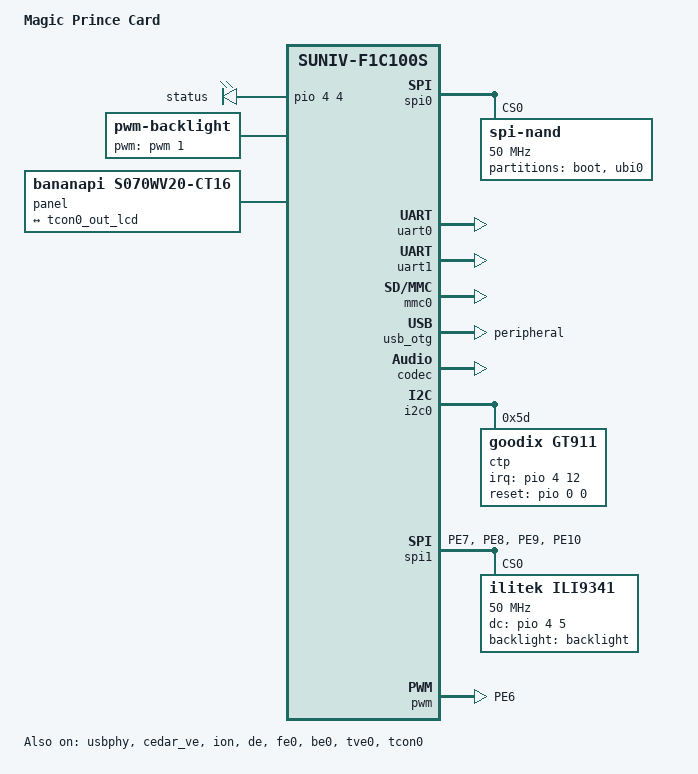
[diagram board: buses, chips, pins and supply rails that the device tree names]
// SPDX-License-Identifier: (GPL-2.0+ OR X11)

/dts-v1/;
#include "suniv-f1c100s.dtsi"
#include <dt-bindings/gpio/gpio.h>
#include <dt-bindings/input/input.h>
#include <dt-bindings/pwm/pwm.h>

/ {
	model = "Magic Prince Card";
	compatible = "allwinner,suniv-f1c200s",
			 "allwinner,suniv-f1c100s";

	aliases {
		serial0 = &uart0;
		serial1 = &uart1;
	};

	chosen {
		#address-cells = <1>;
		#size-cells = <1>;
		ranges;

		stdout-path = "serial1:115200n8";
	};

	leds {
		compatible = "gpio-leds";

		status {
			label = "status";
			gpios = <&pio 4 4 GPIO_ACTIVE_HIGH>; /* PE4 */
			linux,default-trigger = "heartbeat";
		};
	};

	backlight: backlight {
		compatible = "pwm-backlight";
		pwms = <&pwm 1 1000000 1>;
		brightness-levels = <0 30 40 50 60 70 100>;
		default-brightness-level = <3>;
		status = "okay";
	};

	panel: panel {
		compatible = "bananapi,s070wv20-ct16", "simple-panel";
		#address-cells = <1>;
		#size-cells = <0>;

		port@0 {
			reg = <0>;
			#address-cells = <1>;
			#size-cells = <0>;

			panel_input: endpoint@0 {
				reg = <0>;
				remote-endpoint = <&tcon0_out_lcd>;
			};
		};
	};
};

&spi0 {
	status = "okay";
	spi-nand@0 {
		#address-cells = <1>;
		#size-cells = <1>;
		compatible = "spi-nand";
		reg = <0>;
		spi-max-frequency = <50000000>;
		status = "okay";

		partitions {
			compatible = "fixed-partitions";
			#address-cells = <1>;
			#size-cells = <1>;

		boot@0 {
			label = "boot";
			reg = <0x0000000 0x0100000>;
		};

		ubi0@100000 {
			label = "ubi0";
			reg = <0x0100000 0x0000000>;
		};
	   };
	};
};

&uart0 {
	pinctrl-names = "default";
	pinctrl-0 = <&uart0_pe_pins>;
	status = "okay";
};

&uart1 {
	pinctrl-names = "default";
	pinctrl-0 = <&uart1_pa_pins>;
	status = "okay";
};

&mmc0 {
	status = "okay";
	broken-cd;
};

&otg_sram {
	status = "okay";
};

&usb_otg {
	dr_mode = "peripheral"; /* host peripheral */
	status = "okay";
};

&usbphy {
	status = "okay";
};

&cedar_ve {
	status = "okay";
};

&ion {
	status = "okay";
};

&de {
	status = "okay";
};

&fe0 {
	status = "okay";
};

&be0 {
	status = "okay";
};

&tve0 {
	status = "okay";
};

&tcon0 {
	pinctrl-names = "default";
	pinctrl-0 = <&lcd_rgb565_pins>;
	status = "okay";
};

&tcon0_out {
	tcon0_out_lcd: endpoint@0 {
		reg = <0>;
		remote-endpoint = <&panel_input>;
	};
};

&codec {
	allwinner,audio-routing =
		"Headphone", "HP",
		"Headphone", "HPCOM",
		"LINEIN", "Line In",
		"FMINL", "Left FM In",
		"FMINR", "Right FM In",
		"MIC", "Mic";
	status = "okay";
};

&i2c0 {
	pinctrl-names = "default";
	pinctrl-0 = <&i2c0_pd_pins>;
	status = "okay";

	rtp@48 {
		compatible = "ti,tsc2007";
		reg = <0x48>;
		interrupt-parent = <&pio>;
		interrupts = <4 12 IRQ_TYPE_EDGE_FALLING>;
		gpios = <&pio 4 12 GPIO_ACTIVE_LOW>;
		pendown-gpio = <&pio 4 12 GPIO_ACTIVE_LOW>;
		ti,x-plate-ohms = <660>;
		wakeup-source;
		status = "disabled";
	};

	ctp@5d {
		compatible = "goodix,gt911";
		reg = <0x5d>;
		interrupt-parent = <&pio>;
		interrupts = <4 12 IRQ_TYPE_EDGE_FALLING>; // PE12
		irq-gpios = <&pio 4 12 GPIO_ACTIVE_HIGH>; // PE12
		reset-gpios = <&pio 0 0 GPIO_ACTIVE_HIGH>; // PA0
	};
};

&pio {
	spi1_pins: spi1-pins-pa {
		pins = "PE7", "PE8", "PE9", "PE10";
		function = "spi1";
	};

	pwm1_pin: pwm1@0 {
		pins = "PE6";
		function = "pwm1";
	};
};

&spi1 {
	#address-cells = <1>;
	#size-cells = <0>;
	pinctrl-names = "default";
	pinctrl-0 = <&spi1_pins>;
	status = "okay";

	hx8347d@0 {
		compatible = "himax,hx8347d";
		reg = <0>;
		status = "disabled";
		spi-max-frequency = <50000000>;
		rotate = <0>;
		bgr;
		fps = <30>;
		buswidth = <8>;
		dc-gpios = <&pio 4 5 GPIO_ACTIVE_HIGH>; //PE5
		debug = <0>;
		backlight = <&backlight>;
	};

	ili9341@0 {
		compatible = "ilitek,ili9341";
		reg = <0>;
		status = "okay";
		spi-max-frequency = <50000000>;
		rotate = <270>;
		bgr;
		fps = <30>;
		buswidth = <8>;
		dc-gpios = <&pio 4 5 GPIO_ACTIVE_HIGH>; //PE5
		debug = <0>;
		backlight = <&backlight>;
	};
};

&pwm {
	pinctrl-names = "default";
	pinctrl-0 = <&pwm1_pin>;
	status = "okay";
};
